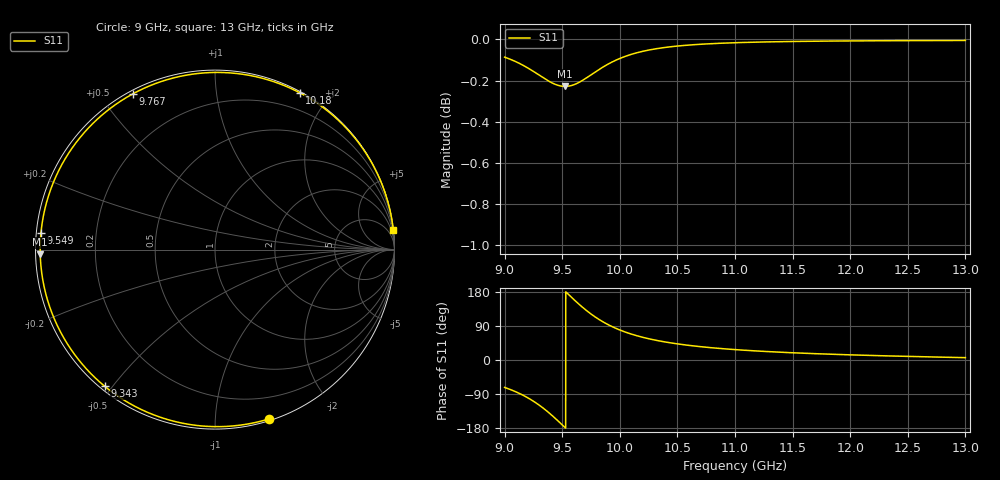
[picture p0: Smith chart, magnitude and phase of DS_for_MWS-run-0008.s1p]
! TOUCHSTONE file generated by CST DESIGN STUDIO
! Date and time: Tue Feb  4 12:32:14 2025
! Project name: C:\Work\MatlabApps\UnitCellOptimizationMatlab\CST\unitcell.cst
! Tree item: Tasks\Sweep1\SPara1\S-Parameters
! Header version: 2024
! Port assignment regex: !\s*Touchstone port\s*([0-9]+)\s*=\s*(CST MWS port|CST DES external port|CST DES block port)\s*(.+)\s* \(\"(.*)\"\)(\s*mode\s*([0-9]+))?.*
! Touchstone port assignment:
! Touchstone port 1 = CST DES external port 1 ("")
# GHz S MA R 50
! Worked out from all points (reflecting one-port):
!   4001 points, 9 GHz to 13 GHz, reference 50 ohm
!   lowest |S11| = -0.2 dB at 9.525 GHz (marker M1), VSWR 76.13, Z = 0.657 - j0.681 ohm
!   phase of S11 starts at -72 deg and turns -281 deg over the sweep
!   S11 on the Smith chart (normalised r, x): 9 GHz: 0.01, -1.37; 9.343 GHz: 0.01, -0.48; 9.549 GHz: 0.01, +0.05; 9.767 GHz: 0.01, +0.60; 10.18 GHz: 0.01, +1.67; 13 GHz: 0, +18
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9  0.9901 -72.4
9.095  0.9877 -83.6
9.201  0.9842 -99.7
9.275  0.9813 -113.7
9.343  0.9785 -128.9
9.386  0.9769 -139.6
9.43  0.9755 -151.3
9.5  0.9742 -171.2
9.525  0.9741 -178.4
9.549  0.9742 174.6
9.603  0.975 159.0
9.664  0.9769 142.3
9.715  0.9789 129.5
9.767  0.9811 117.7
9.816  0.9832 107.7
9.87  0.9853 97.9
9.93  0.9874 88.5
10  0.9894 79.2
10.084  0.9914 70.0
10.176  0.993 61.7
10.324  0.9949 51.4
10.5  0.9963 42.5
10.721  0.9974 34.5
11  0.9982 27.4
11.5  0.9989 19.1
12  0.9992 13.6
12.5  0.9994 9.5
13  0.9994 6.2
